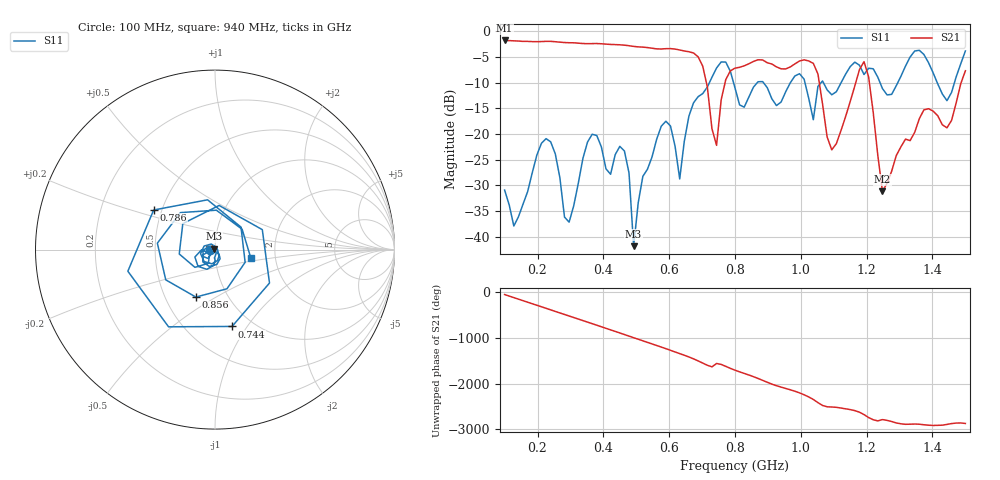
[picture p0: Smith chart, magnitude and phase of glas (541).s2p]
! NanoVNA-App
! Date: 2025-09-25 15:59:41
! Start: 100MHz Stop: 1,5GHz Points: 101
! S-Parameter data: F S11 S21 S12 S22
# Hz S RI R 50
!  Frequency  S11_Real  S11_Imag  S21_Real  S21_Imag  S12_Real  S12_Imag  S22_Real  S22_Imag
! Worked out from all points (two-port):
!   101 points, 100 MHz to 1.5 GHz, reference 50 ohm
!   highest |S21| = -1.80 dB at 100 MHz (marker M1); lowest = -31.1 dB at 1.248 GHz (marker M2)
!   |S21| within 3 dB of the highest: start of sweep to 684.5 MHz
!   lowest |S11| = -41.9 dB at 492 MHz (marker M3), VSWR 1.02, Z = 49.5 + j0.601 ohm
!   |S11| at or under -10 dB: start of sweep to 722.4 MHz; 795.5 MHz to 867.9 MHz (72.44 MHz wide, 8.71 % of centre); 886.2 MHz to 968.4 MHz (82.2 MHz wide, 8.86 % of centre) (the widest 3 of 7)
!   S12 and S22 are empty: the file has one direction only
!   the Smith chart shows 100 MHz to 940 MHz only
!   S11 on the Smith chart (normalised r, x): 100 MHz: 0.95, -0.01; 744 MHz: 0.81, -0.85; 786 MHz: 0.45, +0.24; 856 MHz: 0.71, -0.41; 940 MHz: 1.49, -0.14
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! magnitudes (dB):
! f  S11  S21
! 100 MHz  -30.9  -1.8
! 128 MHz  -37.9  -1.9
! 226 MHz  -20.9  -2.0
! 296 MHz  -37.2  -2.2
! 338 MHz  -24.7  -2.4
! 464 MHz  -23.3  -2.7
! 492 MHz  -41.9  -3.0
! 576 MHz  -18.5  -3.5
! 632 MHz  -28.8  -3.7
! 702 MHz  -12.1  -6.8
! 744 MHz  -7.2  -22.2
! 786 MHz  -7.8  -7.7
! 800 MHz  -11.0  -7.2
! 856 MHz  -10.9  -5.9
! 940 MHz  -13.8  -7.3
! 1.038 GHz  -17.2  -6.3
! 1.094 GHz  -12.4  -23.1
! 1.192 GHz  -8.4  -5.9
! 1.248 GHz  -11.2  -31.1
! 1.276 GHz  -12.3  -27.3
! 1.444 GHz  -13.5  -18.8
! 1.5 GHz  -3.8  -7.7
